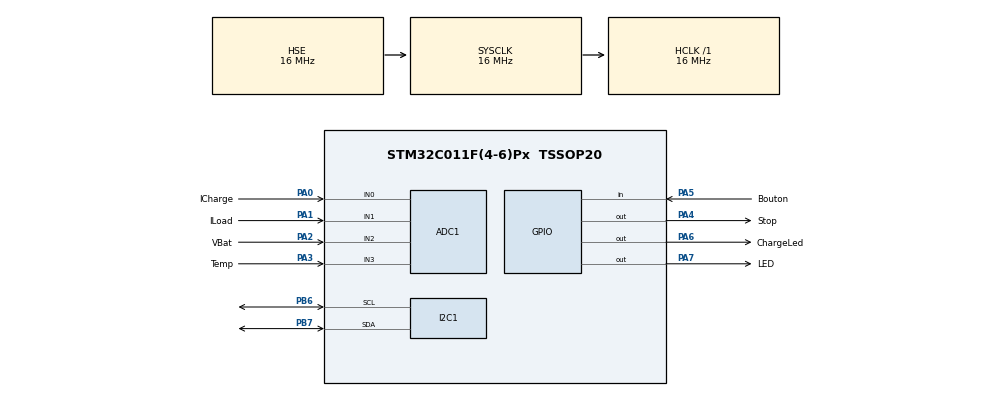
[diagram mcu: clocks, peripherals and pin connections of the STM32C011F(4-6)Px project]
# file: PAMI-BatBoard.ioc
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ADC1.SelectedChannel=ADC_CHANNEL_0|ADC_CHANNEL_1|ADC_CHANNEL_2|ADC_CHANNEL_3|ADC_CHANNEL_TEMPSENSOR
ADC1.master=1
I2C1.Timing=0x00503D58
Mcu.Family=STM32C0
Mcu.Name=STM32C011F(4-6)Px
Mcu.Package=TSSOP20
PA0.GPIO_Label=ICharge
PA0.Mode=IN0
PA0.Signal=ADC1_IN0
PA1.GPIO_Label=ILoad
PA1.Mode=IN1
PA1.Signal=ADC1_IN1
PA13.Mode=Serial_Wire
PA13.Signal=DEBUG_SWDIO
PA14-BOOT0.Mode=Serial_Wire
PA14-BOOT0.Signal=DEBUG_SWCLK
PA2.GPIO_Label=VBat
PA2.Mode=IN2
PA2.Signal=ADC1_IN2
PA3.GPIO_Label=Temp
PA3.Mode=IN3
PA3.Signal=ADC1_IN3
PA4.GPIO_Label=Stop
PA4.Signal=GPIO_Output
PA5.GPIO_Label=Bouton
PA5.GPIO_PuPd=GPIO_PULLUP
PA5.Signal=GPIO_Input
PA6.GPIO_Label=ChargeLed
PA6.Signal=GPIO_Output
PA7.GPIO_Label=LED
PA7.Signal=GPIO_Output
PB6.Mode=I2C
PB6.Signal=I2C1_SCL
PB7.Mode=I2C
PB7.Signal=I2C1_SDA
PC14-OSCX_IN\ (PC14).Mode=HSE-External-Oscillator-REMAPPED
PC14-OSCX_IN\ (PC14).Signal=RCC_OSCX_IN
PC15-OSCX_OUT\ (PC15).Mode=HSE-External-Oscillator-REMAPPED
PC15-OSCX_OUT\ (PC15).Signal=RCC_OSCX_OUT
ProjectManager.HeapSize=0x200
ProjectManager.StackSize=0x400
ProjectManager.TargetToolchain=STM32CubeIDE
RCC.ADCFreq_Value=16000000
RCC.AHBFreq_Value=16000000
RCC.CortexFreq_Value=16000000
RCC.EXTERNAL_CLOCK_VALUE=12288000
RCC.HCLKFreq_Value=16000000
RCC.HSE_VALUE=16000000
RCC.HSISYSCLKDivider=RCC_HSI_DIV1
RCC.HSI_VALUE=48000000
RCC.LSE_VALUE=32768
RCC.SYSCLKFreq_VALUE=16000000
RCC.SYSCLKSource=RCC_SYSCLKSOURCE_HSE
VP_ADC1_TempSens_Input.Mode=IN-TempSens
board=custom

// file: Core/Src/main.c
/* USER CODE BEGIN Header */
/**
  ******************************************************************************
  * @file           : main.c
  * @brief          : Main program body
  ******************************************************************************
  * @attention
  *
  * Copyright (c) 2024 STMicroelectronics.
  * All rights reserved.
  *
  * This software is licensed under terms that can be found in the LICENSE file
  * in the root directory of this software component.
  * If no LICENSE file comes with this software, it is provided AS-IS.
  *
  ******************************************************************************
  */
/* USER CODE END Header */
#include "main.h"

ADC_HandleTypeDef hadc1;

I2C_HandleTypeDef hi2c1;

void SystemClock_Config(void);
static void MX_GPIO_Init(void);
static void MX_ADC1_Init(void);
static void MX_I2C1_Init(void);

/* USER CODE BEGIN 0 */
#define IntervalLed 500 // blink led
#define IntervalLed_Long 5000 // blink led long
#define LongPressDuration 5000 // temps en ms pour réarmer
#define StopActif 0
/* USER CODE END 0 */

int main(void)
{

  /* MCU Configuration--------------------------------------------------------*/

  /* Reset of all peripherals, Initializes the Flash interface and the Systick. */
  HAL_Init();

  /* Configure the system clock */
  SystemClock_Config();

  /* Initialize all configured peripherals */
  MX_GPIO_Init();
  MX_ADC1_Init();
  MX_I2C1_Init();
  /* USER CODE BEGIN 2 */
  uint32_t previous_tick = 0;
  uint32_t blink_interval = 500; // 500 ms

  uint32_t Bouton_interval = 100;
  uint32_t previous_tick_But = 0;

  _Bool FirstTime = 1;
  _Bool ButtonPressed = 0;
  _Bool ButtonLongPressed = 0;
  _Bool ButtonPreviousState = 0;
  uint32_t LongPress_tick = 0;

  HAL_GPIO_WritePin(Stop_GPIO_Port, Stop_Pin, !StopActif);
  /* USER CODE END 2 */

  /* Infinite loop */
  while (1)
  {

    /* USER CODE BEGIN 3 */
      uint32_t current_tick = HAL_GetTick();
	  if ((current_tick - previous_tick) >= blink_interval)
	  {
	     HAL_GPIO_TogglePin(LED_GPIO_Port, LED_Pin); // Replace with your LED pin
	     previous_tick = current_tick;
	     blink_interval = IntervalLed;
	     }

	  if ((current_tick - previous_tick_But) >= Bouton_interval)
	  {
	      previous_tick_But = current_tick;

	      _Bool Button = !HAL_GPIO_ReadPin(Bouton_GPIO_Port, Bouton_Pin); // bouton en pull-up → 1 si appuyé

	      // Initialiser à 0 à chaque cycle de traitement
	      ButtonPressed = 0;
	      ButtonLongPressed = 0;

	      // Front descendant : non appuyé → appuyé
	      if (Button && !ButtonPreviousState)
	      {
	          LongPress_tick = current_tick;  // Enregistrer le moment de l'appui
	          ButtonPressed = 1;              // Détection immédiate
	      }

	      // Front montant : appuyé → relâché
	      else if (!Button && ButtonPreviousState)
	      {
	          uint32_t pressDuration = current_tick - LongPress_tick;

	          if (pressDuration >= LongPressDuration)
	          {
	              ButtonLongPressed = 1;
	          }
	      }

	      // Met à jour l’état précédent pour la prochaine itération
	      ButtonPreviousState = Button;
	  }

	  if (FirstTime && ButtonPressed)
	  {
		 // premiere activation
         FirstTime = 0;
         HAL_GPIO_WritePin(Stop_GPIO_Port, Stop_Pin, StopActif);

         //value reset
         ButtonPressed = 0;
	  }
	  else if (ButtonPressed)
	  {
		  // on doit couper le signal
		  HAL_GPIO_WritePin(Stop_GPIO_Port, Stop_Pin, !StopActif);

		  //value reset
		  ButtonPressed = 0;
	  }
	  else if (ButtonLongPressed)
	  {
		  // on réarme le robot
		  HAL_GPIO_WritePin(Stop_GPIO_Port, Stop_Pin, StopActif);

		  // force l'alumage pendant la durée longue
		  HAL_GPIO_WritePin(LED_GPIO_Port, LED_Pin, 1);
		  blink_interval = IntervalLed_Long;

		  //value reset
		  ButtonLongPressed = 0;
	  }

  }
  /* USER CODE END 3 */
}

void SystemClock_Config(void)
{
  RCC_OscInitTypeDef RCC_OscInitStruct = {0};
  RCC_ClkInitTypeDef RCC_ClkInitStruct = {0};

  /** Initializes the RCC Oscillators according to the specified parameters
  * in the RCC_OscInitTypeDef structure.
  */
  RCC_OscInitStruct.OscillatorType = RCC_OSCILLATORTYPE_HSE;
  RCC_OscInitStruct.HSEState = RCC_HSE_ON;
  if (HAL_RCC_OscConfig(&RCC_OscInitStruct) != HAL_OK)
  {
    Error_Handler();
  }

  /** Initializes the CPU, AHB and APB buses clocks
  */
  RCC_ClkInitStruct.ClockType = RCC_CLOCKTYPE_HCLK|RCC_CLOCKTYPE_SYSCLK
                              |RCC_CLOCKTYPE_PCLK1;
  RCC_ClkInitStruct.SYSCLKSource = RCC_SYSCLKSOURCE_HSE;
  RCC_ClkInitStruct.SYSCLKDivider = RCC_SYSCLK_DIV1;
  RCC_ClkInitStruct.AHBCLKDivider = RCC_HCLK_DIV1;
  RCC_ClkInitStruct.APB1CLKDivider = RCC_APB1_DIV1;

  if (HAL_RCC_ClockConfig(&RCC_ClkInitStruct, FLASH_LATENCY_0) != HAL_OK)
  {
    Error_Handler();
  }
}

static void MX_ADC1_Init(void)
{

  ADC_ChannelConfTypeDef sConfig = {0};

  /** Configure the global features of the ADC (Clock, Resolution, Data Alignment and number of conversion)
  */
  hadc1.Instance = ADC1;
  hadc1.Init.ClockPrescaler = ADC_CLOCK_SYNC_PCLK_DIV2;
  hadc1.Init.Resolution = ADC_RESOLUTION_12B;
  hadc1.Init.DataAlign = ADC_DATAALIGN_RIGHT;
  hadc1.Init.ScanConvMode = ADC_SCAN_SEQ_FIXED;
  hadc1.Init.EOCSelection = ADC_EOC_SINGLE_CONV;
  hadc1.Init.LowPowerAutoWait = DISABLE;
  hadc1.Init.LowPowerAutoPowerOff = DISABLE;
  hadc1.Init.ContinuousConvMode = DISABLE;
  hadc1.Init.NbrOfConversion = 0;
  hadc1.Init.DiscontinuousConvMode = DISABLE;
  hadc1.Init.ExternalTrigConv = ADC_SOFTWARE_START;
  hadc1.Init.ExternalTrigConvEdge = ADC_EXTERNALTRIGCONVEDGE_NONE;
  hadc1.Init.DMAContinuousRequests = DISABLE;
  hadc1.Init.Overrun = ADC_OVR_DATA_PRESERVED;
  hadc1.Init.SamplingTimeCommon1 = ADC_SAMPLETIME_1CYCLE_5;
  hadc1.Init.OversamplingMode = DISABLE;
  hadc1.Init.TriggerFrequencyMode = ADC_TRIGGER_FREQ_HIGH;
  if (HAL_ADC_Init(&hadc1) != HAL_OK)
  {
    Error_Handler();
  }

  /** Configure Regular Channel
  */
  sConfig.Channel = ADC_CHANNEL_0;
  sConfig.Rank = ADC_RANK_CHANNEL_NUMBER;
  if (HAL_ADC_ConfigChannel(&hadc1, &sConfig) != HAL_OK)
  {
    Error_Handler();
  }

  /** Configure Regular Channel
  */
  sConfig.Channel = ADC_CHANNEL_1;
  if (HAL_ADC_ConfigChannel(&hadc1, &sConfig) != HAL_OK)
  {
    Error_Handler();
  }

  /** Configure Regular Channel
  */
  sConfig.Channel = ADC_CHANNEL_2;
  if (HAL_ADC_ConfigChannel(&hadc1, &sConfig) != HAL_OK)
  {
    Error_Handler();
  }

  /** Configure Regular Channel
  */
  sConfig.Channel = ADC_CHANNEL_3;
  if (HAL_ADC_ConfigChannel(&hadc1, &sConfig) != HAL_OK)
  {
    Error_Handler();
  }

  /** Configure Regular Channel
  */
  sConfig.Channel = ADC_CHANNEL_TEMPSENSOR;
  if (HAL_ADC_ConfigChannel(&hadc1, &sConfig) != HAL_OK)
  {
    Error_Handler();
  }

}

static void MX_I2C1_Init(void)
{

  hi2c1.Instance = I2C1;
  hi2c1.Init.Timing = 0x00503D58;
  hi2c1.Init.OwnAddress1 = 0;
  hi2c1.Init.AddressingMode = I2C_ADDRESSINGMODE_7BIT;
  hi2c1.Init.DualAddressMode = I2C_DUALADDRESS_DISABLE;
  hi2c1.Init.OwnAddress2 = 0;
  hi2c1.Init.OwnAddress2Masks = I2C_OA2_NOMASK;
  hi2c1.Init.GeneralCallMode = I2C_GENERALCALL_DISABLE;
  hi2c1.Init.NoStretchMode = I2C_NOSTRETCH_DISABLE;
  if (HAL_I2C_Init(&hi2c1) != HAL_OK)
  {
    Error_Handler();
  }

  /** Configure Analogue filter
  */
  if (HAL_I2CEx_ConfigAnalogFilter(&hi2c1, I2C_ANALOGFILTER_ENABLE) != HAL_OK)
  {
    Error_Handler();
  }

  /** Configure Digital filter
  */
  if (HAL_I2CEx_ConfigDigitalFilter(&hi2c1, 0) != HAL_OK)
  {
    Error_Handler();
  }

}

static void MX_GPIO_Init(void)
{
  GPIO_InitTypeDef GPIO_InitStruct = {0};

  /* GPIO Ports Clock Enable */
  __HAL_RCC_GPIOB_CLK_ENABLE();
  __HAL_RCC_GPIOC_CLK_ENABLE();
  __HAL_RCC_GPIOA_CLK_ENABLE();

  /*Configure GPIO pin Output Level */
  HAL_GPIO_WritePin(GPIOA, Stop_Pin|ChargeLed_Pin|LED_Pin, GPIO_PIN_RESET);

  /*Configure GPIO pins : Stop_Pin ChargeLed_Pin LED_Pin */
  GPIO_InitStruct.Pin = Stop_Pin|ChargeLed_Pin|LED_Pin;
  GPIO_InitStruct.Mode = GPIO_MODE_OUTPUT_PP;
  GPIO_InitStruct.Pull = GPIO_NOPULL;
  GPIO_InitStruct.Speed = GPIO_SPEED_FREQ_LOW;
  HAL_GPIO_Init(GPIOA, &GPIO_InitStruct);

  /*Configure GPIO pin : Bouton_Pin */
  GPIO_InitStruct.Pin = Bouton_Pin;
  GPIO_InitStruct.Mode = GPIO_MODE_INPUT;
  GPIO_InitStruct.Pull = GPIO_PULLUP;
  HAL_GPIO_Init(Bouton_GPIO_Port, &GPIO_InitStruct);

}

void Error_Handler(void)
{
  __disable_irq();
  while (1)
  {
  }
}
